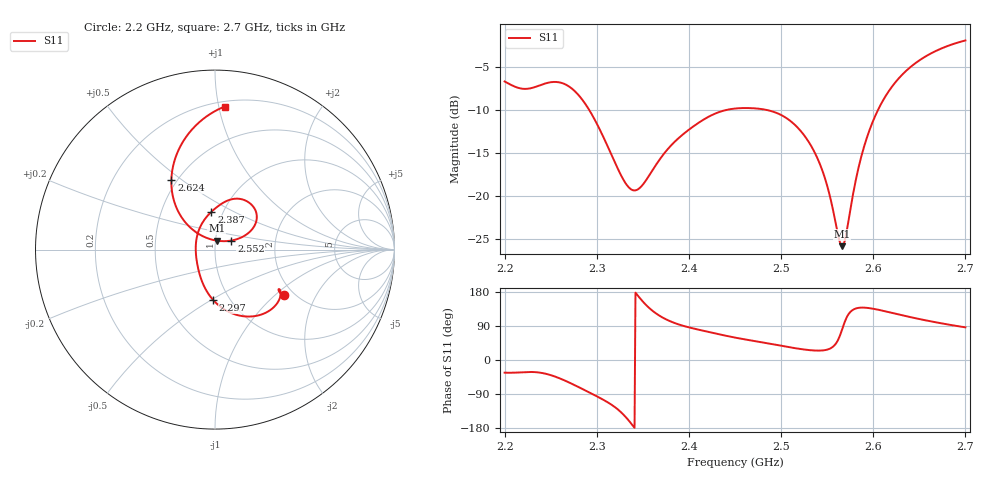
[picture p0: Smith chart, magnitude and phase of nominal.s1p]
! PRELIMINARY bare PCB unless shell_eps > 0; see README.md
! L220 output ($1N324), with L220 and C216 excluded and C217 DNP
# Hz S RI R 50
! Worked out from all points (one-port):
!   501 points, 2.2 GHz to 2.7 GHz, reference 50 ohm
!   lowest |S11| = -25.9 dB at 2.566 GHz (marker M1), VSWR 1.11, Z = 50.7 + j5.08 ohm
!   |S11| at or under -10 dB: 2.292 GHz to 2.442 GHz (150.4 MHz wide, 6.36 % of centre); 2.483 GHz to 2.605 GHz (122.5 MHz wide, 4.82 % of centre)
!   S11 on the Smith chart (normalised r, x): 2.2 GHz: 1.78, -1.15; 2.297 GHz: 0.84, -0.51; 2.387 GHz: 0.88, +0.39; 2.552 GHz: 1.19, +0.12; 2.624 GHz: 0.47, +0.46; 2.7 GHz: 0.24, +1.04
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2.2e9  0.3848 -0.2544
2.232e9  0.3622 -0.225
2.249e9  0.3534 -0.2876
2.263e9  0.2789 -0.3536
2.279e9  0.1342 -0.3672
2.297e9  -0.00954 -0.2815
2.325e9  -0.0958 -0.0962
2.336e9  -0.1056 -0.0311
2.345e9  -0.107 0.0215
2.387e9  -0.0199 0.2108
2.388e9  -0.0171 0.2135
2.422e9  0.0812 0.2772
2.45e9  0.1647 0.2756
2.487e9  0.2268 0.2153
2.513e9  0.2236 0.1402
2.536e9  0.1633 0.0765
2.552e9  0.0913 0.0505
2.562e9  0.0346 0.0473
2.566e9  0.00977 0.0499
2.57e9  -0.0159 0.0552
2.575e9  -0.0487 0.066
2.584e9  -0.1071 0.0979
2.595e9  -0.1705 0.1584
2.608e9  -0.2226 0.2536
2.624e9  -0.2432 0.3857
2.638e9  -0.2252 0.4969
2.669e9  -0.1089 0.6896
2.7e9  0.0537 0.7969
